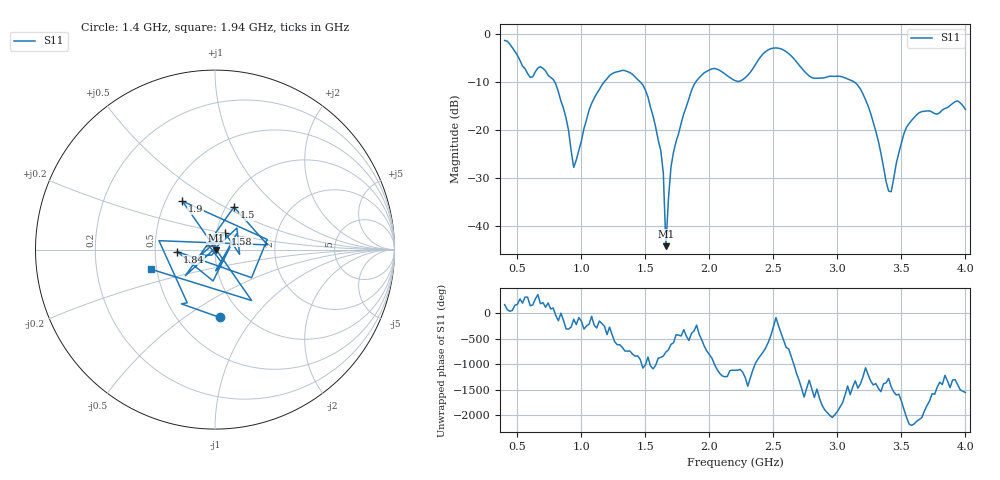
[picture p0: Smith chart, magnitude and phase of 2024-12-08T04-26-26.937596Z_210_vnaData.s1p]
!Created with skrf (http://scikit-rf.org).
# Hz S RI R 50.0
!freq ReS11 ImS11
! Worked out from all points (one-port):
!   181 points, 400 MHz to 4 GHz, reference 50 ohm
!   lowest |S11| = -44.2 dB at 1.66 GHz (marker M1), VSWR 1.01, Z = 50.4 - j0.423 ohm
!   |S11| at or under -10 dB: 790.7 MHz to 1.178 GHz (387.4 MHz wide, 39.4 % of centre); 1.46 GHz to 1.894 GHz (434 MHz wide, 25.9 % of centre); 3.13 GHz to end of sweep
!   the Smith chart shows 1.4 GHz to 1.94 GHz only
!   S11 on the Smith chart (normalised r, x): 1.4 GHz: 0.79, -0.69; 1.5 GHz: 1.09, +0.55; 1.58 GHz: 1.10, +0.20; 1.84 GHz: 0.65, -0.02; 1.9 GHz: 0.61, +0.37; 1.94 GHz: 0.47, -0.12
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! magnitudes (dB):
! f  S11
! 400 MHz  -1.4
! 600 MHz  -9.0
! 680 MHz  -6.8
! 780 MHz  -9.5
! 860 MHz  -15.5
! 940 MHz  -27.8
! 1.08 GHz  -14.5
! 1.3 GHz  -7.8
! 1.4 GHz  -8.4
! 1.5 GHz  -11.7
! 1.58 GHz  -19.4
! 1.64 GHz  -29.0
! 1.66 GHz  -44.2
! 1.7 GHz  -27.7
! 1.76 GHz  -20.7
! 1.84 GHz  -13.5
! 1.9 GHz  -9.8
! 1.94 GHz  -8.6
! 2.2 GHz  -9.7
! 2.48 GHz  -3.1
! 2.66 GHz  -5.2
! 2.8 GHz  -9.1
! 3.1 GHz  -9.6
! 3.24 GHz  -15.0
! 3.4 GHz  -32.7
! 3.56 GHz  -18.7
! 3.94 GHz  -14.0
! 4 GHz  -15.7
